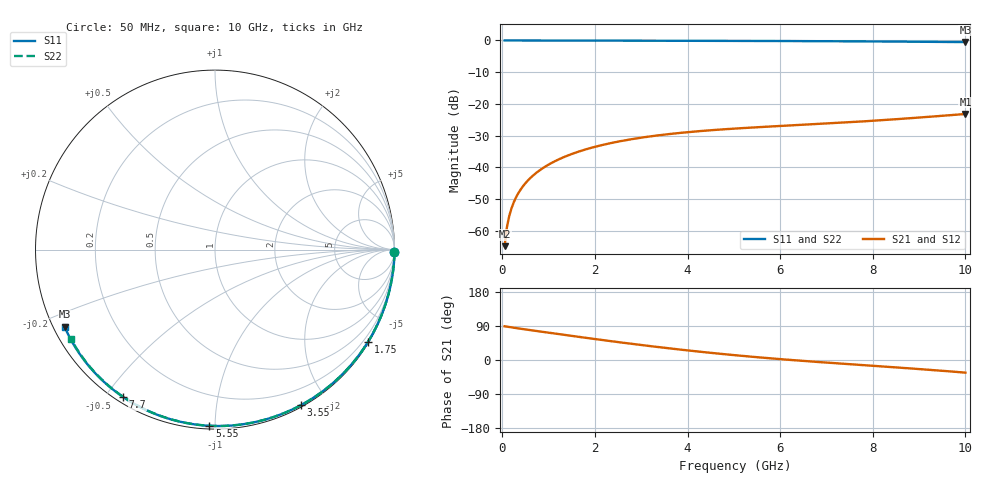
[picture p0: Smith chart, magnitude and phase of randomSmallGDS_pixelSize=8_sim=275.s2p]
! freq	dB(S11)	phase(S11)	dB(S12)	phase(S12)
!  dB(S21)	phase(S21)	dB(S22)	phase(S22)
!S-par simulation data
#  GHz  S  DB  R 50
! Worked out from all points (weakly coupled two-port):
!   200 points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, 50 MHz to 10 GHz, reference 50 ohm
!   highest |S21| = -23.21 dB at 10 GHz (marker M1); lowest = -64.9 dB at 50 MHz (marker M2)
!   lowest |S11| = -0.5 dB at 10 GHz (marker M3), VSWR 33.51, Z = 1.58 - j12.1 ohm
!   |S11| at or under -10 dB: nowhere
!   |S22| runs from -0.5 to 0.0 dB; largest |S21 - S12| = 0
!   S11 on the Smith chart (normalised r, x): 50 MHz: open; 1.75 GHz: 0.03, -3.60; 3.55 GHz: 0.02, -1.69; 5.55 GHz: 0.02, -0.97; 7.7 GHz: 0.02, -0.56; 10 GHz: 0.03, -0.24
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0.05  -0.00 -0.9  -64.91 89.0  -64.91 89.0  -0.00 -0.9
0.1  -0.00 -1.8  -58.90 88.0  -58.90 88.0  -0.00 -1.8
0.15  -0.00 -2.7  -55.39 87.0  -55.39 87.0  -0.00 -2.6
0.2  -0.00 -3.6  -52.90 86.1  -52.90 86.1  -0.00 -3.5
0.25  -0.00 -4.5  -50.98 85.1  -50.98 85.1  -0.00 -4.4
0.35  -0.00 -6.3  -48.09 83.3  -48.09 83.3  -0.00 -6.2
0.5  -0.01 -9.0  -45.04 80.7  -45.04 80.7  -0.01 -8.8
0.7  -0.01 -12.6  -42.17 77.2  -42.17 77.2  -0.01 -12.3
1  -0.02 -17.9  -39.17 72.1  -39.17 72.1  -0.02 -17.4
1.35  -0.03 -24.1  -36.68 66.1  -36.68 66.1  -0.03 -23.4
1.75  -0.04 -31.0  -34.60 59.4  -34.60 59.4  -0.04 -30.2
2.5  -0.06 -43.8  -31.92 47.2  -31.92 47.2  -0.06 -42.7
3.4  -0.08 -58.7  -29.88 33.7  -29.88 33.7  -0.08 -57.2
3.55  -0.09 -61.1  -29.62 31.5  -29.62 31.5  -0.08 -59.6
4.3  -0.11 -73.0  -28.56 21.4  -28.56 21.4  -0.11 -71.2
5.05  -0.13 -84.4  -27.78 12.3  -27.78 12.3  -0.13 -82.3
5.55  -0.16 -91.8  -27.35 6.9  -27.35 6.9  -0.15 -89.5
6.7  -0.22 -108.2  -26.46 -4.2  -26.46 -4.2  -0.21 -105.4
7.7  -0.28 -121.9  -25.62 -12.7  -25.62 -12.7  -0.28 -118.7
8.35  -0.34 -130.7  -25.00 -18.2  -25.00 -18.2  -0.33 -127.1
9.2  -0.42 -142.1  -24.11 -25.7  -24.11 -25.7  -0.41 -138.0
10  -0.52 -152.8  -23.21 -33.3  -23.21 -33.3  -0.50 -148.3
